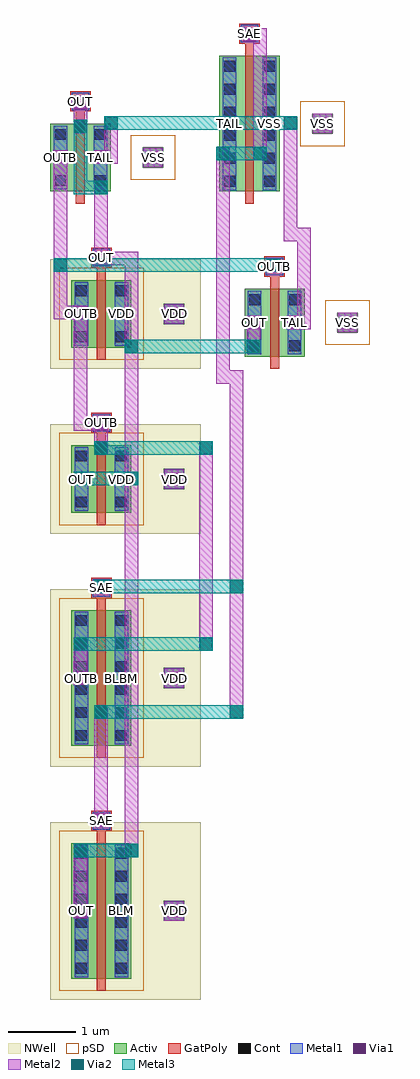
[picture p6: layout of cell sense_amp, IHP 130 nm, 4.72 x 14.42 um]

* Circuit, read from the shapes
.subckt sense_amp BLBM BLM OUT OUTB SAE TAIL VDD VSS
XM1 TAIL OUT OUTB VSS sg13_lv_nmos w=1u l=0.13u
XM2 VSS SAE TAIL VSS sg13_lv_nmos w=2u l=0.13u
XM3 TAIL OUTB OUT VSS sg13_lv_nmos w=1u l=0.13u
XM4 BLM SAE OUT VDD sg13_lv_pmos w=2u l=0.13u
XM5 BLBM SAE OUTB VDD sg13_lv_pmos w=2u l=0.13u
XM6 VDD OUTB OUT VDD sg13_lv_pmos w=1u l=0.13u
XM7 VDD OUT OUTB VDD sg13_lv_pmos w=1u l=0.13u
.ends

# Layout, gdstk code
import gdstk
lib = gdstk.Library(unit=1e-6, precision=1e-09)
def R(c, l, rs):  # rectangles x0, y0, x1, y1
    for r in rs: c.add(gdstk.rectangle(r[:2], r[2:], *l))
def A(c, l, x, y, w, h, nx, ny, dx, dy):  # array of equal rectangles
    R(c, l, [(x+i*dx, y+j*dy, x+i*dx+w, y+j*dy+h) for i in range(nx) for j in range(ny)])
Activ = (1, 0)
GatPoly = (5, 0)
Cont = (6, 0)
Metal1 = (8, 0)
Metal2 = (10, 0)
pSD = (14, 0)
Via1 = (19, 0)
Via2 = (29, 0)
Metal3 = (30, 0)
NWell = (31, 0)

sg13_lv_pmos_w2_l0p13 = lib.new_cell('sg13_lv_pmos_w2_l0p13')
R(sg13_lv_pmos_w2_l0p13, Activ, [(0,0,0.89,2), (1.37,0.85,1.67,1.15)])
R(sg13_lv_pmos_w2_l0p13, GatPoly, [(0.38,-0.18,0.51,2.2), (0.295,2.18,0.595,2.48)])
A(sg13_lv_pmos_w2_l0p13, Cont, 0.07, 0.07, 0.16, 0.16, 1, 6, 0, 0.34)
A(sg13_lv_pmos_w2_l0p13, Cont, 0.66, 0.07, 0.16, 0.16, 1, 6, 0, 0.34)
R(sg13_lv_pmos_w2_l0p13, Cont, [(1.44,0.92,1.6,1.08), (0.365,2.25,0.525,2.41)])
R(sg13_lv_pmos_w2_l0p13, Metal1, [(0.05,0.02,0.25,1.98), (0.64,0.02,0.84,1.98), (1.375,0.855,1.665,1.145), (0.315,2.2,0.575,2.46)])
R(sg13_lv_pmos_w2_l0p13, Metal2, [(1.375,0.855,1.665,1.145)])
R(sg13_lv_pmos_w2_l0p13, pSD, [(-0.18,-0.18,1.07,2.18)])
R(sg13_lv_pmos_w2_l0p13, Via1, [(1.425,0.905,1.615,1.095)])
R(sg13_lv_pmos_w2_l0p13, NWell, [(-0.31,-0.31,1.91,2.31)])

sg13_lv_pmos_w1_l0p13 = lib.new_cell('sg13_lv_pmos_w1_l0p13')
R(sg13_lv_pmos_w1_l0p13, Activ, [(0,0,0.89,1), (1.37,0.35,1.67,0.65)])
R(sg13_lv_pmos_w1_l0p13, GatPoly, [(0.38,-0.18,0.51,1.2), (0.295,1.18,0.595,1.48)])
A(sg13_lv_pmos_w1_l0p13, Cont, 0.07, 0.08, 0.16, 0.16, 1, 3, 0, 0.34)
A(sg13_lv_pmos_w1_l0p13, Cont, 0.66, 0.08, 0.16, 0.16, 1, 3, 0, 0.34)
R(sg13_lv_pmos_w1_l0p13, Cont, [(1.44,0.42,1.6,0.58), (0.365,1.25,0.525,1.41)])
R(sg13_lv_pmos_w1_l0p13, Metal1, [(0.05,0.03,0.25,0.97), (0.64,0.03,0.84,0.97), (1.375,0.355,1.665,0.645), (0.315,1.2,0.575,1.46)])
R(sg13_lv_pmos_w1_l0p13, Metal2, [(1.375,0.355,1.665,0.645)])
R(sg13_lv_pmos_w1_l0p13, pSD, [(-0.18,-0.18,1.07,1.18)])
R(sg13_lv_pmos_w1_l0p13, Via1, [(1.425,0.405,1.615,0.595)])
R(sg13_lv_pmos_w1_l0p13, NWell, [(-0.31,-0.31,1.91,1.31)])

sg13_lv_nmos_w1_l0p13 = lib.new_cell('sg13_lv_nmos_w1_l0p13')
R(sg13_lv_nmos_w1_l0p13, Activ, [(0,0,0.89,1), (1.37,0.35,1.67,0.65)])
R(sg13_lv_nmos_w1_l0p13, GatPoly, [(0.38,-0.18,0.51,1.2), (0.295,1.18,0.595,1.48)])
A(sg13_lv_nmos_w1_l0p13, Cont, 0.07, 0.08, 0.16, 0.16, 1, 3, 0, 0.34)
A(sg13_lv_nmos_w1_l0p13, Cont, 0.66, 0.08, 0.16, 0.16, 1, 3, 0, 0.34)
R(sg13_lv_nmos_w1_l0p13, Cont, [(1.44,0.42,1.6,0.58), (0.365,1.25,0.525,1.41)])
R(sg13_lv_nmos_w1_l0p13, Metal1, [(0.05,0.03,0.25,0.97), (0.64,0.03,0.84,0.97), (1.375,0.355,1.665,0.645), (0.315,1.2,0.575,1.46)])
R(sg13_lv_nmos_w1_l0p13, Metal2, [(1.375,0.355,1.665,0.645)])
R(sg13_lv_nmos_w1_l0p13, pSD, [(1.19,0.17,1.85,0.83)])
R(sg13_lv_nmos_w1_l0p13, Via1, [(1.425,0.405,1.615,0.595)])

sg13_lv_nmos_w2_l0p13 = lib.new_cell('sg13_lv_nmos_w2_l0p13')
R(sg13_lv_nmos_w2_l0p13, Activ, [(0,0,0.89,2), (1.37,0.85,1.67,1.15)])
R(sg13_lv_nmos_w2_l0p13, GatPoly, [(0.38,-0.18,0.51,2.2), (0.295,2.18,0.595,2.48)])
A(sg13_lv_nmos_w2_l0p13, Cont, 0.07, 0.07, 0.16, 0.16, 1, 6, 0, 0.34)
A(sg13_lv_nmos_w2_l0p13, Cont, 0.66, 0.07, 0.16, 0.16, 1, 6, 0, 0.34)
R(sg13_lv_nmos_w2_l0p13, Cont, [(1.44,0.92,1.6,1.08), (0.365,2.25,0.525,2.41)])
R(sg13_lv_nmos_w2_l0p13, Metal1, [(0.05,0.02,0.25,1.98), (0.64,0.02,0.84,1.98), (1.375,0.855,1.665,1.145), (0.315,2.2,0.575,2.46)])
R(sg13_lv_nmos_w2_l0p13, Metal2, [(1.375,0.855,1.665,1.145)])
R(sg13_lv_nmos_w2_l0p13, pSD, [(1.19,0.67,1.85,1.33)])
R(sg13_lv_nmos_w2_l0p13, Via1, [(1.425,0.905,1.615,1.095)])

sense_amp = lib.new_cell('sense_amp')
R(sense_amp, Metal1, [(0.345,1.195,0.555,1.405), (0.645,2.545,0.855,2.755), (0.345,4.645,0.555,4.855), (0.645,5.995,0.855,6.205), (0.345,7.595,0.555,7.805), (0.645,8.395,0.855,8.605), (2.895,9.895,3.105,10.105), (3.495,9.895,3.705,10.105), (0.345,10.045,0.555,10.255), (3.195,10.745,3.405,10.955), (0.645,10.845,0.855,11.055), (0.045,12.345,0.255,12.555), (0.645,12.345,0.855,12.555), (2.545,12.845,2.755,13.055), (0.345,13.145,0.555,13.355), (2.845,14.145,3.055,14.355)])
R(sense_amp, Metal2, [(0.35,1.2,0.55,1.4), (0.35,1.2,0.55,2.3), (0.35,2.1,0.55,2.3), (1.1,2.1,1.3,2.3), (1.1,2.1,1.3,7.8), (0.65,2.55,0.85,2.75), (0.65,2.55,0.85,4.35), (0.65,4.15,0.85,4.35), (2.65,4.15,2.85,4.35), (2.65,4.15,2.85,6.2), (0.35,4.65,0.55,4.85), (0.35,4.65,0.55,5.35), (0.35,5.15,0.55,5.35), (2.2,5.15,2.4,5.35), (2.2,5.15,2.4,8.25), (0.65,6,0.85,6.2), (0.65,6,0.85,6.2), (2.65,6,2.85,6.2), (2.65,6,2.85,9.3), (0.35,7.6,0.55,7.8), (0.35,7.6,0.55,7.8), (1.1,7.6,1.3,7.8), (1.1,7.6,1.3,11.05), (0.65,8.05,0.85,8.25), (0.65,8.05,0.85,8.6), (2.2,8.05,2.4,8.25), (0.35,8.4,0.85,8.6), (0.35,8.4,0.55,10.25), (0.65,8.4,0.85,8.6), (2.45,9.1,2.85,9.3), (2.45,9.1,2.65,12.6), (1.1,9.55,1.3,9.75), (2.9,9.55,3.1,9.75), (2.9,9.55,3.1,10.1), (2.9,9.9,3.1,10.1), (3.5,9.9,3.7,10.1), (3.5,9.9,3.85,10.1), (3.65,9.9,3.85,11.4), (0.05,10.05,0.25,12.55), (0.05,10.05,0.55,10.25), (0.35,10.05,0.55,10.25), (0.05,10.75,0.25,10.95), (3.2,10.75,3.4,10.95), (3.2,10.75,3.4,10.95), (0.65,10.85,0.85,11.05), (0.65,10.85,1.3,11.05), (0.65,10.85,0.85,12.1), (3.45,11.2,3.65,13.05), (3.45,11.2,3.85,11.4), (0.65,11.9,0.85,12.1), (0.05,12.35,0.25,12.55), (0.65,12.35,0.85,12.55), (0.65,12.35,1,12.55), (0.8,12.35,1,13.05), (2.45,12.4,2.65,12.6), (3,12.4,3.2,12.6), (3,12.4,3.2,14.35), (0.35,12.8,0.55,13), (0.35,12.8,0.55,13.35), (0.8,12.85,1,13.05), (2.55,12.85,2.75,13.05), (2.55,12.85,2.75,13.05), (3.45,12.85,3.65,13.05), (0.35,13.15,0.55,13.35), (2.85,14.15,3.05,14.35), (2.85,14.15,3.2,14.35)])
R(sense_amp, Via1, [(0.355,1.205,0.545,1.395), (0.655,2.555,0.845,2.745), (0.355,4.655,0.545,4.845), (0.655,6.005,0.845,6.195), (0.355,7.605,0.545,7.795), (0.655,8.405,0.845,8.595), (2.905,9.905,3.095,10.095), (3.505,9.905,3.695,10.095), (0.355,10.055,0.545,10.245), (3.205,10.755,3.395,10.945), (0.655,10.855,0.845,11.045), (0.055,12.355,0.245,12.545), (0.655,12.355,0.845,12.545), (2.555,12.855,2.745,13.045), (0.355,13.155,0.545,13.345), (2.855,14.155,3.045,14.345)])
R(sense_amp, Via2, [(0.355,2.105,0.545,2.295), (1.105,2.105,1.295,2.295), (0.655,4.155,0.845,4.345), (2.655,4.155,2.845,4.345), (0.355,5.155,0.545,5.345), (2.205,5.155,2.395,5.345), (0.655,6.005,0.845,6.195), (2.655,6.005,2.845,6.195), (0.355,7.605,0.545,7.795), (1.105,7.605,1.295,7.795), (0.655,8.055,0.845,8.245), (2.205,8.055,2.395,8.245), (1.105,9.555,1.295,9.745), (2.905,9.555,3.095,9.745), (0.055,10.755,0.245,10.945), (3.205,10.755,3.395,10.945), (0.655,11.905,0.845,12.095), (2.455,12.405,2.645,12.595), (3.005,12.405,3.195,12.595), (0.355,12.805,0.545,12.995), (0.805,12.855,0.995,13.045), (2.555,12.855,2.745,13.045), (3.455,12.855,3.645,13.045)])
R(sense_amp, Metal3, [(0.35,2.1,0.55,2.3), (0.35,2.1,1.3,2.3), (1.1,2.1,1.3,2.3), (0.65,4.15,0.85,4.35), (0.65,4.15,2.85,4.35), (2.65,4.15,2.85,4.35), (0.35,5.15,0.55,5.35), (0.35,5.15,2.4,5.35), (2.2,5.15,2.4,5.35), (0.65,6,0.85,6.2), (0.65,6,2.85,6.2), (2.65,6,2.85,6.2), (0.35,7.6,0.55,7.8), (0.35,7.6,1.3,7.8), (1.1,7.6,1.3,7.8), (0.65,8.05,0.85,8.25), (0.65,8.05,2.4,8.25), (2.2,8.05,2.4,8.25), (1.1,9.55,1.3,9.75), (1.1,9.55,3.1,9.75), (2.9,9.55,3.1,9.75), (0.05,10.75,0.25,10.95), (0.05,10.75,3.4,10.95), (3.2,10.75,3.4,10.95), (0.35,11.9,0.85,12.1), (0.35,11.9,0.55,13), (0.65,11.9,0.85,12.1), (2.45,12.4,2.65,12.6), (2.45,12.4,3.2,12.6), (3,12.4,3.2,12.6), (0.35,12.8,0.55,13), (0.8,12.85,1,13.05), (0.8,12.85,2.75,13.05), (2.55,12.85,2.75,13.05), (2.55,12.85,3.65,13.05), (3.45,12.85,3.65,13.05)])
sense_amp.add(gdstk.Reference(sg13_lv_pmos_w2_l0p13, (0.31,0.31)))
sense_amp.add(gdstk.Reference(sg13_lv_pmos_w2_l0p13, (0.31,3.75)))
sense_amp.add(gdstk.Reference(sg13_lv_pmos_w1_l0p13, (0.31,7.19)))
sense_amp.add(gdstk.Reference(sg13_lv_pmos_w1_l0p13, (0.31,9.63)))
sense_amp.add(gdstk.Reference(sg13_lv_nmos_w1_l0p13, (2.87,9.5)))
sense_amp.add(gdstk.Reference(sg13_lv_nmos_w1_l0p13, (0,11.94)))
sense_amp.add(gdstk.Reference(sg13_lv_nmos_w2_l0p13, (2.5,11.94)))
sense_amp.add(gdstk.Label('OUT', (0.46,1.31), layer=8, texttype=25))
sense_amp.add(gdstk.Label('SAE', (0.755,2.64), layer=8, texttype=25))
sense_amp.add(gdstk.Label('BLM', (1.05,1.31), layer=8, texttype=25))
sense_amp.add(gdstk.Label('VDD', (1.83,1.31), layer=8, texttype=25))
sense_amp.add(gdstk.Label('OUTB', (0.46,4.75), layer=8, texttype=25))
sense_amp.add(gdstk.Label('SAE', (0.755,6.08), layer=8, texttype=25))
sense_amp.add(gdstk.Label('BLBM', (1.05,4.75), layer=8, texttype=25))
sense_amp.add(gdstk.Label('VDD', (1.83,4.75), layer=8, texttype=25))
sense_amp.add(gdstk.Label('OUT', (0.46,7.69), layer=8, texttype=25))
sense_amp.add(gdstk.Label('OUTB', (0.755,8.52), layer=8, texttype=25))
sense_amp.add(gdstk.Label('VDD', (1.05,7.69), layer=8, texttype=25))
sense_amp.add(gdstk.Label('VDD', (1.83,7.69), layer=8, texttype=25))
sense_amp.add(gdstk.Label('OUTB', (0.46,10.13), layer=8, texttype=25))
sense_amp.add(gdstk.Label('OUT', (0.755,10.96), layer=8, texttype=25))
sense_amp.add(gdstk.Label('VDD', (1.05,10.13), layer=8, texttype=25))
sense_amp.add(gdstk.Label('VDD', (1.83,10.13), layer=8, texttype=25))
sense_amp.add(gdstk.Label('OUT', (3.02,10), layer=8, texttype=25))
sense_amp.add(gdstk.Label('OUTB', (3.315,10.83), layer=8, texttype=25))
sense_amp.add(gdstk.Label('TAIL', (3.61,10), layer=8, texttype=25))
sense_amp.add(gdstk.Label('VSS', (4.39,10), layer=8, texttype=25))
sense_amp.add(gdstk.Label('OUTB', (0.15,12.44), layer=8, texttype=25))
sense_amp.add(gdstk.Label('OUT', (0.445,13.27), layer=8, texttype=25))
sense_amp.add(gdstk.Label('TAIL', (0.74,12.44), layer=8, texttype=25))
sense_amp.add(gdstk.Label('VSS', (1.52,12.44), layer=8, texttype=25))
sense_amp.add(gdstk.Label('TAIL', (2.65,12.94), layer=8, texttype=25))
sense_amp.add(gdstk.Label('SAE', (2.945,14.27), layer=8, texttype=25))
sense_amp.add(gdstk.Label('VSS', (3.24,12.94), layer=8, texttype=25))
sense_amp.add(gdstk.Label('VSS', (4.02,12.94), layer=8, texttype=25))

lib.write_gds('sense_amp.gds')
